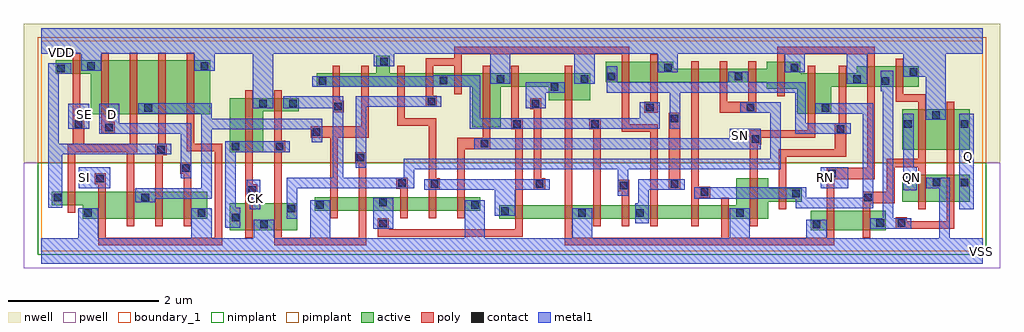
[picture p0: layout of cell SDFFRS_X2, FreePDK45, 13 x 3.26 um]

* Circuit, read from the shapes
.subckt SDFFRS_X2 CK D Q QN RN SE SI SN VDD VSS
M1 VSS SE n1 VSUBS nfet w=0.18u l=0.1u
M2 n2 SI VSS VSUBS nfet w=0.36u l=0.1u
M3 n3 SE n2 VSUBS nfet w=0.36u l=0.1u
M4 n4 n1 n3 VSUBS nfet w=0.36u l=0.1u
M5 VSS D n4 VSUBS nfet w=0.36u l=0.1u
M6 VSS CK n5 VSUBS nfet w=0.36u l=0.1u
M7 n6 n5 VSS VSUBS nfet w=0.36u l=0.1u
M8 n7 n3 VSS VSUBS nfet w=0.18u l=0.1u
M9 n8 n5 n7 VSUBS nfet w=0.18u l=0.1u
M10 n9 n6 n8 VSUBS nfet w=0.18u l=0.1u
M11 n10 n11 n9 VSUBS nfet w=0.18u l=0.1u
M12 VSS SN n10 VSUBS nfet w=0.18u l=0.1u
M13 n12 n8 n11 VSUBS nfet w=0.18u l=0.1u
M14 VSS RN n12 VSUBS nfet w=0.18u l=0.1u
M15 n13 n8 VSS VSUBS nfet w=0.18u l=0.1u
M16 n14 n6 n13 VSUBS nfet w=0.18u l=0.1u
M17 n15 n5 n14 VSUBS nfet w=0.18u l=0.1u
M18 n16 n17 n15 VSUBS nfet w=0.18u l=0.1u
M19 VSS RN n16 VSUBS nfet w=0.18u l=0.1u
M20 n18 SN VSS VSUBS nfet w=0.54u l=0.1u
M21 n17 n14 n18 VSUBS nfet w=0.18u l=0.1u
M22 n19 RN VSS VSUBS nfet w=0.26u l=0.1u
M23 n20 n17 n19 VSUBS nfet w=0.26u l=0.1u
M24 VSS n17 QN VSUBS nfet w=0.359u l=0.1u
M25 Q n20 VSS VSUBS nfet w=0.359u l=0.1u
M26 VDD SE n1 n21 pfet w=0.18u l=0.1u
M27 n22 D VDD n21 pfet w=0.72u l=0.1u
M28 n3 SE n22 n21 pfet w=0.72u l=0.1u
M29 n23 n1 n3 n21 pfet w=0.72u l=0.1u
M30 VDD SI n23 n21 pfet w=0.72u l=0.099u
M31 VDD CK n5 n21 pfet w=0.719u l=0.1u
M32 n6 n5 VDD n21 pfet w=0.179u l=0.1u
M33 n24 n6 n8 n21 pfet w=0.18u l=0.099u
M34 VDD n3 n24 n21 pfet w=0.18u l=0.1u
M35 n25 n11 VDD n21 pfet w=0.18u l=0.1u
M36 n8 n5 n25 n21 pfet w=0.18u l=0.1u
M37 n26 n5 n8 n21 pfet w=0.18u l=0.1u
M38 VDD SN n26 n21 pfet w=0.72u l=0.1u
M39 n11 n8 VDD n21 pfet w=0.18u l=0.1u
M40 VDD RN n11 n21 pfet w=0.36u l=0.1u
M41 n27 n5 n14 n21 pfet w=0.27u l=0.1u
M42 VDD n8 n27 n21 pfet w=0.27u l=0.1u
M43 n28 n17 VDD n21 pfet w=0.18u l=0.1u
M44 n14 n6 n28 n21 pfet w=0.18u l=0.1u
M45 n29 n6 n14 n21 pfet w=0.18u l=0.1u
M46 VDD RN n29 n21 pfet w=0.36u l=0.1u
M47 n17 SN VDD n21 pfet w=0.54u l=0.1u
M48 VDD n14 n17 n21 pfet w=0.18u l=0.1u
M49 n20 RN VDD n21 pfet w=0.27u l=0.1u
M50 VDD n17 n20 n21 pfet w=0.27u l=0.1u
M51 VDD n17 QN n21 pfet w=0.54u l=0.1u
M52 Q n20 VDD n21 pfet w=0.54u l=0.1u
.ends

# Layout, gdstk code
import gdstk
lib = gdstk.Library(unit=1e-6, precision=1e-09)
def R(c, l, rs):  # rectangles x0, y0, x1, y1
    for r in rs: c.add(gdstk.rectangle(r[:2], r[2:], *l))
def P(c, l, *ps):  # polygons
    for p in ps: c.add(gdstk.Polygon(p, *l))
active = (1, 0)
pwell = (2, 0)
nwell = (3, 0)
nimplant = (4, 0)
pimplant = (5, 0)
poly = (9, 0)
contact = (10, 0)
metal1 = (11, 0)
boundary_1 = (235, 1)

sdffrs_x2 = lib.new_cell('SDFFRS_X2')
R(sdffrs_x2, active, [(2.51,0.28,3.41,0.64), (10.25,0.28,11.25,0.54), (3.64,0.54,5.85,0.72), (11.47,0.66,12.37,1.019), (11.47,1.35,12.37,1.89)])
P(sdffrs_x2, active, [(10.52,1.83),(10.52,2.19),(11.69,2.19),(11.69,2.46),(10.86,2.46),(10.86,2.37),(10.11,2.37),(10.11,2.52),(9.66,2.52),(9.66,2.43),(8.42,2.43),(8.42,2.52),(7.52,2.52),(7.52,2.25),(9.66,2.25),(9.66,2.16),(10.07,2.16),(10.07,1.83)],
  [(9.68,0.43),(9.68,0.66),(10.13,0.66),(10.13,0.84),(9.68,0.84),(9.68,0.97),(9.26,0.97),(9.26,0.61),(6.1,0.61),(6.1,0.43)],
  [(6.12,1.65),(6.12,2.19),(6.76,2.19),(6.76,2.01),(7.31,2.01),(7.31,2.37),(4.64,2.37),(4.64,2.6),(4.46,2.6),(4.46,2.37),(3.67,2.37),(3.67,2.19),(5.74,2.19),(5.74,1.65)],
  [(2.96,1.32),(2.96,1.86),(3.43,1.86),(3.43,2.039),(2.51,2.039),(2.51,1.32)],
  [(2.25,1.82),(2.25,2.54),(0.19,2.54),(0.19,2.36),(0.66,2.36),(0.66,1.82)],
  [(2.21,0.43),(2.21,0.79),(0.14,0.79),(0.14,0.61),(0.55,0.61),(0.55,0.43)])
R(sdffrs_x2, pwell, [(-0.23,-0.23,12.77,1.18)])
R(sdffrs_x2, nwell, [(-0.23,1.18,12.77,3.03)])
R(sdffrs_x2, nimplant, [(-0.05,-0.05,12.59,1.18)])
R(sdffrs_x2, pimplant, [(-0.05,1.18,12.59,2.85)])
R(sdffrs_x2, poly, [(8.36,0.82,8.51,1.84)])
P(sdffrs_x2, poly, [(12.16,0.3),(12.16,1.989),(12.06,1.989),(12.06,0.4),(11.53,0.4),(11.53,0.45),(11.38,0.45),(11.38,0.3)],
  [(11.78,0.56),(11.78,2.09),(11.48,2.09),(11.48,2.56),(11.38,2.56),(11.38,1.989),(11.68,1.989),(11.68,1.23),(11.26,1.23),(11.26,0.79),(10.94,0.79),(10.94,0.18),(11.04,0.18),(11.04,0.64),(11.37,0.64),(11.37,1.12),(11.68,1.12),(11.68,0.56)],
  [(11.1,0.96),(11.1,2.72),(9.8,2.72),(9.8,2.06),(9.9,2.06),(9.9,2.62),(11,2.62),(11,1.11),(10.46,1.11),(10.46,0.18),(9.16,0.18),(9.16,0.71),(9.06,0.71),(9.06,0.18),(7.07,0.18),(7.07,2.47),(6.97,2.47),(6.97,0.08),(10.56,0.08),(10.56,0.96)],
  [(9.92,0.56),(9.92,1.26),(10.72,1.26),(10.72,2.47),(10.62,2.47),(10.62,1.7),(10.57,1.7),(10.57,1.36),(9.82,1.36),(9.82,0.56)],
  [(9.54,0.33),(9.54,1.42),(9.59,1.42),(9.59,1.51),(10.31,1.51),(10.31,2.47),(10.21,2.47),(10.21,1.61),(9.44,1.61),(9.44,0.33)],
  [(9.52,1.84),(9.52,2.53),(9.42,2.53),(9.42,1.989),(9.14,1.989),(9.14,2.53),(9.04,2.53),(9.04,1.84)],
  [(8.76,0.33),(8.76,0.71),(8.91,0.71),(8.91,0.86),(8.76,0.86),(8.76,2.53),(8.66,2.53),(8.66,0.33)],
  [(8.21,1.84),(8.21,2.62),(8.11,2.62),(8.11,1.989),(8.03,1.989),(8.03,1.84)],
  [(8.21,0.33),(8.21,1.69),(7.83,1.69),(7.83,2.72),(5.5,2.72),(5.5,2.57),(5.12,2.57),(5.12,1.92),(5.27,1.92),(5.27,2.07),(5.22,2.07),(5.22,2.47),(5.5,2.47),(5.5,2.09),(5.6,2.09),(5.6,2.62),(7.73,2.62),(7.73,1.59),(8.11,1.59),(8.11,0.33)],
  [(7.83,0.33),(7.83,0.95),(7.68,0.95),(7.68,0.8),(7.73,0.8),(7.73,0.33)],
  [(7.45,0.33),(7.45,1.77),(7.3,1.77),(7.3,1.62),(7.35,1.62),(7.35,0.33)],
  [(6.71,0.82),(6.71,0.97),(6.66,0.97),(6.66,2.039),(6.51,2.039),(6.51,1.89),(6.56,1.89),(6.56,0.82)],
  [(6.41,0.19),(6.41,1.77),(6.36,1.77),(6.36,2.47),(6.26,2.47),(6.26,1.62),(6.31,1.62),(6.31,0.29),(4.63,0.29),(4.63,0.44),(4.48,0.44),(4.48,0.19)],
  [(5.64,0.44),(5.64,1.36),(5.98,1.36),(5.98,2.47),(5.88,2.47),(5.88,1.51),(5.54,1.51),(5.54,0.44)],
  [(5.26,0.44),(5.26,0.82),(5.31,0.82),(5.31,0.97),(5.26,0.97),(5.26,1.77),(4.84,1.77),(4.84,2.47),(4.74,2.47),(4.74,1.67),(5.16,1.67),(5.16,0.44)],
  [(4.88,0.44),(4.88,0.98),(4.73,0.98),(4.73,0.83),(4.78,0.83),(4.78,0.44)],
  [(3.95,0.44),(3.95,1.51),(4.36,1.51),(4.36,2.47),(4.26,2.47),(4.26,1.66),(3.59,1.66),(3.59,1.51),(3.85,1.51),(3.85,0.44)],
  [(4.33,0.08),(4.33,1.32),(4.18,1.32),(4.18,1.17),(4.23,1.17),(4.23,0.18),(3.2,0.18),(3.2,1.32),(3.25,1.32),(3.25,1.47),(3.2,1.47),(3.2,2.14),(3.1,2.14),(3.1,0.08)],
  [(4.03,1.85),(4.03,2),(3.979,2),(3.979,2.47),(3.88,2.47),(3.88,1.85)],
  [(2.82,0.18),(2.82,0.74),(2.88,0.74),(2.88,0.89),(2.82,0.89),(2.82,2.14),(2.72,2.14),(2.72,0.18)],
  [(2.41,0.08),(2.41,1.43),(2.039,1.43),(2.039,2.64),(1.94,2.64),(1.94,1.33),(2.31,1.33),(2.31,0.18),(0.86,0.18),(0.86,1.04),(0.71,1.04),(0.71,0.89),(0.76,0.89),(0.76,0.08)],
  [(2,0.33),(2,1.18),(1.85,1.18),(1.85,1.03),(1.9,1.03),(1.9,0.33)],
  [(1.62,0.33),(1.62,1.28),(1.67,1.28),(1.67,1.43),(1.66,1.43),(1.66,2.64),(1.56,2.64),(1.56,1.43),(1.52,1.43),(1.52,0.33)],
  [(1.24,0.33),(1.24,1.32),(1.28,1.32),(1.28,2.64),(1.18,2.64),(1.18,1.42),(0.57,1.42),(0.57,1.77),(0.52,1.77),(0.52,2.64),(0.42,2.64),(0.42,1.42),(0.35,1.42),(0.35,0.509),(0.45,0.509),(0.45,1.32),(1.14,1.32),(1.14,0.33)],
  [(0.98,1.57),(0.98,1.72),(0.9,1.72),(0.9,2.64),(0.8,2.64),(0.8,1.57)])
R(sdffrs_x2, contact, [(2.915,0.305,3.015,0.405), (10.275,0.305,10.375,0.405), (4.505,0.315,4.605,0.415), (11.125,0.325,11.225,0.425), (11.405,0.325,11.505,0.425), (2.535,0.395,2.635,0.495), (0.575,0.455,0.675,0.555), (2.085,0.455,2.185,0.555), (7.155,0.455,7.255,0.555), (7.925,0.455,8.025,0.555), (9.255,0.455,9.355,0.555), (6.125,0.485,6.225,0.585), (3.285,0.515,3.385,0.615), (3.665,0.565,3.765,0.665), (5.725,0.565,5.825,0.665), (4.505,0.595,4.605,0.695), (0.165,0.665,0.265,0.765), (1.335,0.665,1.435,0.765), (10.965,0.665,11.065,0.765), (10.005,0.715,10.105,0.815), (8.785,0.735,8.885,0.835), (2.755,0.765,2.855,0.865), (7.704,0.825,7.805,0.925), (5.185,0.845,5.285,0.945), (6.585,0.845,6.685,0.945), (8.385,0.845,8.485,0.945), (4.755,0.855,4.855,0.955), (11.875,0.865,11.975,0.965), (12.245,0.865,12.345,0.965), (11.495,0.895,11.595,0.994), (0.735,0.915,0.835,1.015), (10.485,0.985,10.585,1.085), (1.875,1.055,1.975,1.155), (4.205,1.195,4.305,1.295), (1.545,1.305,1.645,1.405), (2.535,1.345,2.635,1.445), (3.125,1.345,3.225,1.445), (5.855,1.385,5.955,1.485), (9.465,1.445,9.565,1.545), (3.615,1.535,3.715,1.635), (10.595,1.575,10.695,1.675), (0.855,1.595,0.955,1.695), (0.445,1.645,0.545,1.745), (6.285,1.645,6.385,1.745), (7.325,1.645,7.425,1.745), (11.495,1.645,11.595,1.745), (12.245,1.645,12.345,1.745), (8.385,1.715,8.485,1.815), (11.865,1.765,11.965,1.865), (1.375,1.855,1.475,1.955), (10.395,1.855,10.495,1.955), (8.054,1.865,8.155,1.965), (9.395,1.865,9.495,1.965), (3.904,1.875,4.005,1.975), (2.905,1.915,3.005,2.015), (3.305,1.915,3.405,2.015), (6.535,1.915,6.635,2.015), (5.145,1.944,5.245,2.045), (6.785,2.135,6.885,2.235), (3.695,2.215,3.795,2.315), (11.195,2.215,11.295,2.315), (5.305,2.225,5.405,2.325), (6.065,2.245,6.165,2.345), (7.185,2.245,7.285,2.345), (10.815,2.245,10.915,2.345), (7.545,2.275,7.645,2.375), (9.235,2.275,9.335,2.375), (11.565,2.335,11.665,2.435), (0.215,2.385,0.315,2.485), (8.295,2.395,8.395,2.495), (9.985,2.395,10.085,2.495), (0.615,2.415,0.715,2.515), (2.125,2.415,2.225,2.515), (4.515,2.475,4.615,2.575)])
R(sdffrs_x2, metal1, [(4.42,0.3,4.69,0.71), (12.23,0.56,12.42,1.83), (12.23,0.56,12.42,1.83), (0.5,0.84,0.92,1.12), (0.5,0.84,0.92,1.12), (10.38,0.84,10.75,1.12), (10.38,0.84,10.75,1.12), (0.36,1.63,0.64,1.96), (0.36,1.63,0.64,1.96)])
P(sdffrs_x2, metal1, [(2.92,0.56),(2.92,0.95),(2.74,0.95),(2.74,0.68),(2.78,0.68),(2.78,0.56)],
  [(2,0.97),(2,1.7),(1.04,1.7),(1.04,1.96),(0.77,1.96),(0.77,1.56),(1.86,1.56),(1.86,0.97)],
  [(12.54,-0.17),(12.54,0.17),(12.1,0.17),(12.1,0.98),(11.79,0.98),(11.79,0.84),(11.96,0.84),(11.96,0.17),(10.46,0.17),(10.46,0.42),(10.19,0.42),(10.19,0.17),(9.44,0.17),(9.44,0.57),(9.17,0.57),(9.17,0.17),(7.34,0.17),(7.34,0.57),(7.07,0.57),(7.07,0.17),(5.91,0.17),(5.91,0.68),(5.64,0.68),(5.64,0.17),(3.85,0.17),(3.85,0.68),(3.58,0.68),(3.58,0.17),(3.1,0.17),(3.1,0.42),(2.83,0.42),(2.83,0.17),(2.27,0.17),(2.27,0.57),(2,0.57),(2,0.17),(0.76,0.17),(0.76,0.57),(0.49,0.57),(0.49,0.17),(0,0.17),(0,-0.17)],
  [(12.05,1.75),(12.05,2.63),(12.54,2.63),(12.54,2.97),(0,2.97),(0,2.63),(0.53,2.63),(0.53,2.4),(0.8,2.4),(0.8,2.63),(2.039,2.63),(2.039,2.4),(2.31,2.4),(2.31,2.63),(2.82,2.63),(2.82,1.9),(3.09,1.9),(3.09,2.63),(4.43,2.63),(4.43,2.46),(4.7,2.46),(4.7,2.63),(5.98,2.63),(5.98,2.23),(6.25,2.23),(6.25,2.63),(7.1,2.63),(7.1,2.23),(7.37,2.23),(7.37,2.63),(8.21,2.63),(8.21,2.38),(8.48,2.38),(8.48,2.63),(9.9,2.63),(9.9,2.38),(10.17,2.38),(10.17,2.63),(10.73,2.63),(10.73,2.23),(11,2.23),(11,2.63),(11.48,2.63),(11.48,2.32),(11.78,2.32),(11.78,1.75)],
  [(9.58,1.36),(9.58,1.63),(9.17,1.63),(9.17,1.5),(5.77,1.5),(5.77,1.36)],
  [(11.66,0.81),(11.66,1.12),(11.62,1.12),(11.62,1.83),(11.48,1.83),(11.48,0.81)],
  [(12.05,1.75),(12.05,2.63),(12.54,2.63),(12.54,2.97),(0,2.97),(0,2.63),(0.53,2.63),(0.53,2.4),(0.8,2.4),(0.8,2.63),(2.039,2.63),(2.039,2.4),(2.31,2.4),(2.31,2.63),(2.82,2.63),(2.82,1.9),(3.09,1.9),(3.09,2.63),(4.43,2.63),(4.43,2.46),(4.7,2.46),(4.7,2.63),(5.98,2.63),(5.98,2.23),(6.25,2.23),(6.25,2.63),(7.1,2.63),(7.1,2.23),(7.37,2.23),(7.37,2.63),(8.21,2.63),(8.21,2.38),(8.48,2.38),(8.48,2.63),(9.9,2.63),(9.9,2.38),(10.17,2.38),(10.17,2.63),(10.73,2.63),(10.73,2.23),(11,2.23),(11,2.63),(11.48,2.63),(11.48,2.32),(11.78,2.32),(11.78,1.75)],
  [(12.54,-0.17),(12.54,0.17),(12.1,0.17),(12.1,0.98),(11.79,0.98),(11.79,0.84),(11.96,0.84),(11.96,0.17),(10.46,0.17),(10.46,0.42),(10.19,0.42),(10.19,0.17),(9.44,0.17),(9.44,0.57),(9.17,0.57),(9.17,0.17),(7.34,0.17),(7.34,0.57),(7.07,0.57),(7.07,0.17),(5.91,0.17),(5.91,0.68),(5.64,0.68),(5.64,0.17),(3.85,0.17),(3.85,0.68),(3.58,0.68),(3.58,0.17),(3.1,0.17),(3.1,0.42),(2.83,0.42),(2.83,0.17),(2.27,0.17),(2.27,0.57),(2,0.57),(2,0.17),(0.76,0.17),(0.76,0.57),(0.49,0.57),(0.49,0.17),(0,0.17),(0,-0.17)],
  [(11.66,0.81),(11.66,1.12),(11.62,1.12),(11.62,1.83),(11.48,1.83),(11.48,0.81)],
  [(11.59,0.3),(11.59,0.44),(11.35,0.44),(11.35,2.4),(11.18,2.4),(11.18,2.13),(11.21,2.13),(11.21,0.44),(11.04,0.44),(11.04,0.3)],
  [(11.08,0.57),(11.08,1.97),(10.31,1.97),(10.31,1.83),(10.94,1.83),(10.94,0.71),(10.19,0.71),(10.19,0.85),(8.7,0.85),(8.7,0.7),(10.05,0.7),(10.05,0.57)],
  [(10.78,1.56),(10.78,1.7),(10.18,1.7),(10.18,2.25),(9.42,2.25),(9.42,2.39),(9.15,2.39),(9.15,2.25),(7.67,2.25),(7.67,2.46),(7.53,2.46),(7.53,2.11),(8.37,2.11),(8.37,1.63),(8.51,1.63),(8.51,2.11),(10.04,2.11),(10.04,1.56)],
  [(9.85,1.09),(9.85,1.98),(9.31,1.98),(9.31,1.84),(9.71,1.84),(9.71,1.23),(4.83,1.23),(4.83,0.98),(4.02,0.98),(4.02,2.06),(3.22,2.06),(3.22,1.9),(3.88,1.9),(3.88,0.98),(3.27,0.98),(3.27,0.43),(3.41,0.43),(3.41,0.84),(4.97,0.84),(4.97,1.09),(7.68,1.09),(7.68,0.74),(7.82,0.74),(7.82,1.09)],
  [(9.58,1.36),(9.58,1.63),(9.17,1.63),(9.17,1.5),(5.77,1.5),(5.77,1.36)],
  [(8.09,0.37),(8.09,0.82),(8.57,0.82),(8.57,0.96),(7.95,0.96),(7.95,0.64),(7.91,0.64),(7.91,0.37)],
  [(8.24,1.63),(8.24,1.98),(7.969,1.98),(7.969,1.77),(5.85,1.77),(5.85,2.34),(5.22,2.34),(5.22,2.33),(3.61,2.33),(3.61,2.19),(5.71,2.19),(5.71,1.63)],
  [(6.72,1.9),(6.72,2.11),(6.97,2.11),(6.97,2.25),(6.45,2.25),(6.45,1.9)],
  [(6.31,0.47),(6.31,0.82),(6.77,0.82),(6.77,0.96),(5.1,0.96),(5.1,0.82),(6.04,0.82),(6.04,0.47)],
  [(4.33,1.11),(4.33,1.92),(5.33,1.92),(5.33,2.06),(4.19,2.06),(4.19,1.11)],
  [(2.27,0.7),(2.27,1.62),(3.6,1.62),(3.6,1.45),(3.74,1.45),(3.74,1.76),(2.27,1.76),(2.27,1.97),(1.29,1.97),(1.29,1.83),(2.13,1.83),(2.13,0.84),(1.25,0.84),(1.25,0.65),(1.52,0.65),(1.52,0.7)],
  [(3.31,1.32),(3.31,1.46),(2.45,1.46),(2.45,0.31),(2.65,0.31),(2.65,0.58),(2.59,0.58),(2.59,1.32)],
  [(2.92,0.56),(2.92,0.95),(2.74,0.95),(2.74,0.68),(2.78,0.68),(2.78,0.56)],
  [(2,0.97),(2,1.7),(1.04,1.7),(1.04,1.96),(0.77,1.96),(0.77,1.56),(1.86,1.56),(1.86,0.97)],
  [(0.28,0.58),(0.28,1.29),(1.73,1.29),(1.73,1.43),(0.23,1.43),(0.23,2.36),(0.4,2.36),(0.4,2.5),(0.09,2.5),(0.09,0.58)])
R(sdffrs_x2, boundary_1, [(0,0,12.54,2.8)])
sdffrs_x2.add(gdstk.Label('VSS', (12.53,0), layer=11, texttype=0))
sdffrs_x2.add(gdstk.Label('VDD', (0.265,2.64), layer=11, texttype=0))
sdffrs_x2.add(gdstk.Label('SN', (9.31,1.54), layer=11, texttype=0))
sdffrs_x2.add(gdstk.Label('SI', (0.57,0.98), layer=11, texttype=0))
sdffrs_x2.add(gdstk.Label('SE', (0.57,1.82), layer=11, texttype=0))
sdffrs_x2.add(gdstk.Label('RN', (10.45,0.98), layer=11, texttype=0))
sdffrs_x2.add(gdstk.Label('QN', (11.59,0.98), layer=11, texttype=0))
sdffrs_x2.add(gdstk.Label('Q', (12.35,1.26), layer=11, texttype=0))
sdffrs_x2.add(gdstk.Label('D', (0.95,1.82), layer=11, texttype=0))
sdffrs_x2.add(gdstk.Label('CK', (2.85,0.7), layer=11, texttype=0))

lib.write_gds('SDFFRS_X2.gds')
